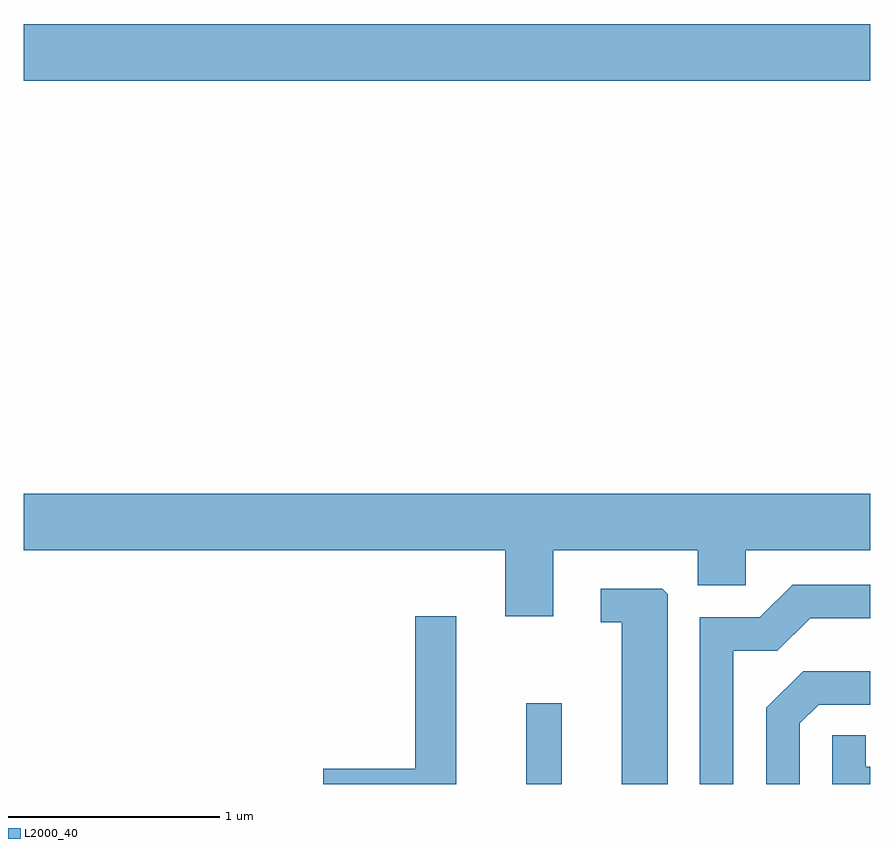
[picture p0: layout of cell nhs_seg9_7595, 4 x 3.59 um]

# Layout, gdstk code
import gdstk
lib = gdstk.Library(unit=1e-6, precision=1e-09)
def R(c, l, rs):  # rectangles x0, y0, x1, y1
    for r in rs: c.add(gdstk.rectangle(r[:2], r[2:], *l))
def P(c, l, *ps):  # polygons
    for p in ps: c.add(gdstk.Polygon(p, *l))
L2000_40 = (2000, 40)

nhs_seg9_7595 = lib.new_cell('nhs_seg9_7595')
R(nhs_seg9_7595, L2000_40, [(411.986,2048.432,412.154,2048.813), (409.611,2051.756,413.611,2052.024)])
P(nhs_seg9_7595, L2000_40, [(412.114,2049.536),(412.796,2049.536),(412.796,2049.371),(413.024,2049.371),(413.024,2049.536),(413.611,2049.536),(413.611,2049.804),(409.611,2049.804),(409.611,2049.536),(411.886,2049.536),(411.886,2049.226),(412.114,2049.226)],
  [(412.964,2049.061),(413.172,2049.061),(413.327,2049.216),(413.611,2049.216),(413.611,2049.374),(413.244,2049.374),(413.089,2049.219),(412.806,2049.219),(412.806,2048.432),(412.964,2048.432)],
  [(412.654,2049.329),(412.629,2049.354),(412.338,2049.354),(412.338,2049.196),(412.436,2049.196),(412.436,2048.432),(412.654,2048.432)],
  [(411.654,2049.224),(411.461,2049.224),(411.461,2048.504),(411.026,2048.504),(411.026,2048.432),(411.654,2048.432)],
  [(413.279,2048.719),(413.367,2048.806),(413.611,2048.806),(413.611,2048.964),(413.294,2048.964),(413.121,2048.792),(413.121,2048.432),(413.279,2048.432)],
  [(413.611,2048.514),(413.589,2048.514),(413.589,2048.663),(413.431,2048.663),(413.431,2048.432),(413.611,2048.432)])

lib.write_gds('nhs_seg9_7595.gds')
